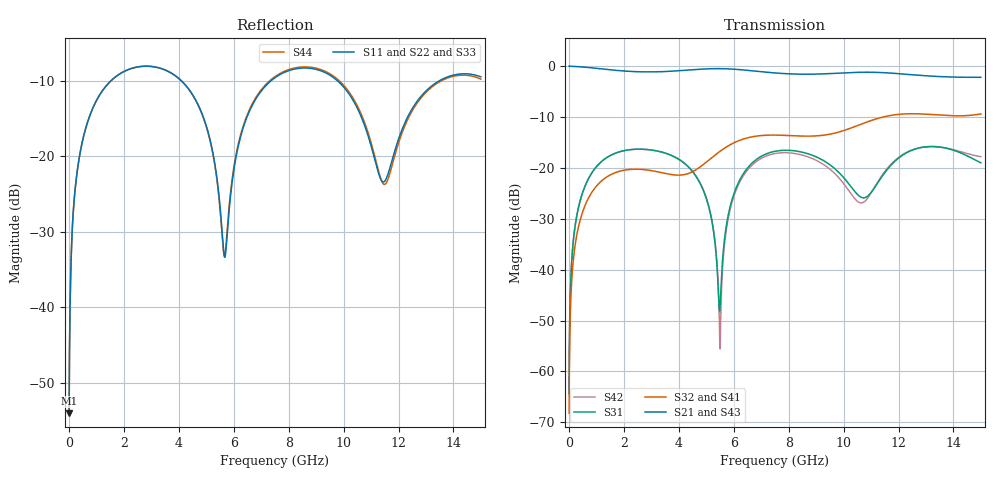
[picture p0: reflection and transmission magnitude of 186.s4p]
! Created with skrf 1.8.0 (http://scikit-rf.org).
# GHz S RI R 50.0
!freq ReS11 ImS11 ReS12 ImS12 ReS13 ImS13
! ReS14 ImS14
! ReS21 ImS21 ReS22 ImS22 ReS23 ImS23
! ReS24 ImS24
! ReS31 ImS31 ReS32 ImS32 ReS33 ImS33
! ReS34 ImS34
! ReS41 ImS41 ReS42 ImS42 ReS43 ImS43
! ReS44 ImS44
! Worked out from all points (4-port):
!   2499 points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, 5 MHz to 15 GHz, reference 50 ohm
!   strongest paths, dB at 5 MHz, 3.476 GHz, 7.19 GHz, 11.1 GHz, 15 GHz:
!     S21: 0.0, -1.1, -1.2, -1.2, -2.2
!     S43: 0.0, -1.1, -1.2, -1.2, -2.2
!     S32: -68.2, -21.1, -13.6, -10.5, -9.4
!     S41: -68.2, -21.1, -13.6, -10.5, -9.4
!     S31: -64.4, -17.0, -17.2, -24.1, -19.0
!     S42: -64.4, -17.0, -17.7, -24.0, -17.8
!   lowest |S11| = -54.0 dB at 5 MHz (marker M1), VSWR 1.00, Z = 50.2 + j0.121 ohm
!   |S11| at or under -10 dB: start of sweep to 1.529 GHz; 4.094 GHz to 7.358 GHz (3.264 GHz wide, 57 % of centre); 9.778 GHz to 13.49 GHz (3.708 GHz wide, 31.9 % of centre)
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0.005  0.00158 0.00121  0.9984 -0.00308  7.83e-05 0.000599  -7.62e-05 -0.00038
       0.9984 -0.00308  0.00158 0.00121  -7.62e-05 -0.00038  7.83e-05 0.000599
       7.83e-05 0.000599  -7.62e-05 -0.00038  0.00158 0.00121  0.9984 -0.00308
       -7.62e-05 -0.00038  7.83e-05 0.000599  0.9984 -0.00308  0.00158 0.00121
0.3126303  0.0226 0.0797  0.9692 -0.1919  0.00992 0.0357  -0.0083 -0.0225
           0.9692 -0.1919  0.0226 0.0796  -0.0083 -0.0225  0.0099 0.0357
           0.00992 0.0357  -0.0083 -0.0225  0.0226 0.0796  0.9692 -0.1919
           -0.0083 -0.0225  0.0099 0.0357  0.9692 -0.1919  0.0226 0.0796
1.569404  0.2639 0.1832  0.5649 -0.7213  0.1207 0.0605  -0.0865 -0.00876
          0.5649 -0.7213  0.2641 0.1831  -0.0866 -0.00871  0.1206 0.0607
          0.1207 0.0605  -0.0866 -0.00871  0.2639 0.1832  0.5649 -0.7213
          -0.0865 -0.00876  0.1206 0.0607  0.5649 -0.7213  0.2641 0.183
4.595665  0.1571 -0.1804  -0.7094 -0.5939  0.0413 -0.0742  -0.0407 0.0854
          -0.7094 -0.5939  0.1568 -0.1802  -0.0402 0.0858  0.039 -0.0759
          0.0413 -0.0742  -0.0402 0.0858  0.1566 -0.1797  -0.7097 -0.5938
          -0.0407 0.0854  0.039 -0.0759  -0.7097 -0.5938  0.1562 -0.1798
5.502293  0.0251 -0.0389  -0.9307 -0.158  0.00419 0.00133  -0.0203 0.1443
          -0.9307 -0.158  0.0254 -0.038  -0.0194 0.1444  -0.00158 0.000526
          0.00419 0.00133  -0.0194 0.1444  0.0249 -0.0376  -0.9308 -0.1575
          -0.0203 0.1443  -0.00158 0.000526  -0.9308 -0.1575  0.0252 -0.0367
8.809921  0.3809 -0.0278  0.0187 0.8325  0.0942 -0.0962  0.1985 -0.0503
          0.0187 0.8325  0.3835 -0.0333  0.1984 -0.0523  0.0931 -0.0836
          0.0942 -0.0962  0.1984 -0.0523  0.3842 -0.0274  0.0182 0.831
          0.1985 -0.0503  0.0931 -0.0836  0.0182 0.831  0.3872 -0.0337
15  0.3316 -0.0533  -0.1636 -0.7583  -0.0158 -0.1109  -0.3304 0.0759
    -0.1636 -0.7583  0.3217 -0.059  -0.329 0.0819  -0.0276 -0.126
    -0.0158 -0.1109  -0.329 0.0819  0.3299 -0.0483  -0.1623 -0.7597
    -0.3304 0.0759  -0.0276 -0.126  -0.1623 -0.7597  0.3182 -0.0623
